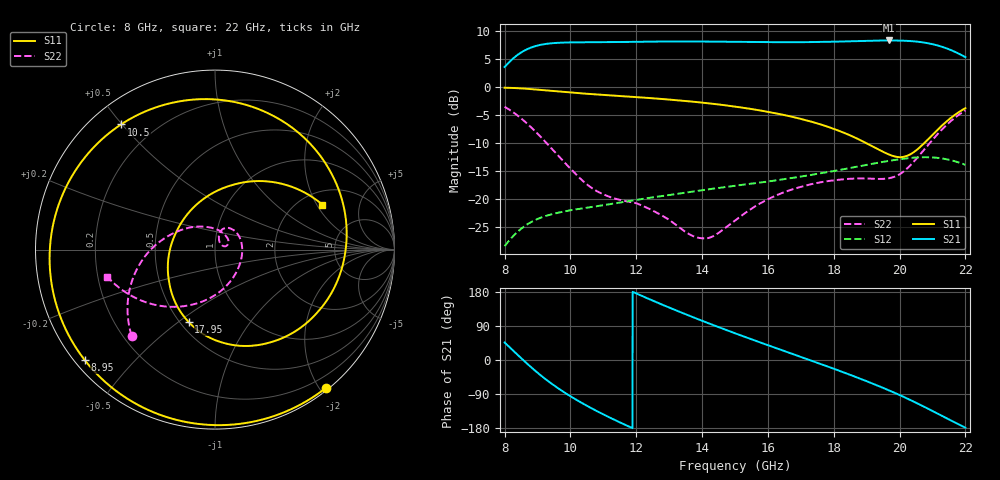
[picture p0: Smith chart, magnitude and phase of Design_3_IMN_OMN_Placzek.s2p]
! Created Tue Apr  8 08:10:16 2025
# hz S ma R 50
! 2 Port Network Data from SP1.SP block
! freq  magS11  angS11  magS21  angS21  magS12  angS12  magS22  angS22
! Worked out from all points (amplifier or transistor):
!   2801 points, 8 GHz to 22 GHz, reference 50 ohm
!   highest |S21| = 8.3 dB at 19.68 GHz (marker M1)
!   |S21| within 3 dB of that: 8.301 GHz to end of sweep
!   unconditionally stable (mu >= 1): 15.57 GHz to end of sweep
!   at 10.33 GHz: K = 0.77, MSG = 14.8 dB, |S12| = -21.7 dB
!   at 15 GHz: K = 0.98, MSG = 12.8 dB, |S12| = -17.6 dB
!   at 22 GHz: K = 1.03, MAG = 8.5 dB, |S12| = -13.9 dB
!   S11 on the Smith chart (normalised r, x): 8 GHz: 0.03, -2.08; 8.95 GHz: 0.03, -0.37; 10.5 GHz: 0.09, +0.50; 17.95 GHz: 0.55, -0.55; 22 GHz: 2.59, +2.24
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8e9  0.9876 -51.4  1.511 46.2  0.03813 -8.5  0.6674 -134.2
8.53e9  0.9729 -102.2  2.06 2.6  0.05535 -49.6  0.5178 -156.0
8.95e9  0.9517 -139.6  2.326 -29.9  0.06566 -80.2  0.3982 -173.5
9.605e9  0.9146 173.5  2.482 -73.4  0.07556 -120.6  0.2486 158.4
1.0335e10  0.879 134.5  2.51 -112.8  0.08261 -156.5  0.1494 120.7
1.05e10  0.8719 126.9  2.511 -120.8  0.084 -163.7  0.1357 111.0
1.1025e10  0.8505 104.7  2.517 -144.6  0.08865 174.9  0.1099 79.7
1.1555e10  0.831 84.1  2.525 -166.7  0.09401 155.4  0.09791 53.2
1.2095e10  0.8106 64.2  2.538 172.0  0.09982 136.8  0.08982 33.9
1.267e10  0.7883 43.8  2.549 150.4  0.1056 118.1  0.07459 20.7
1.3845e10  0.735 4.3  2.552 108.8  0.1186 82.2  0.04558 32.6
1.5e10  0.6694 -31.4  2.531 70.6  0.132 49.6  0.06473 69.8
1.622e10  0.5851 -65.2  2.513 32.2  0.1469 17.3  0.1072 73.2
1.7335e10  0.4903 -93.8  2.522 -2.2  0.1652 -11.8  0.1366 62.5
1.795e10  0.4292 -110.0  2.539 -21.4  0.1773 -28.1  0.1467 52.5
1.878e10  0.3395 -135.7  2.576 -48.5  0.1971 -51.5  0.1532 31.5
1.967e10  0.2511 180.0  2.606 -79.8  0.2197 -79.0  0.1537 -14.5
1.968e10  0.2504 179.3  2.606 -80.2  0.2199 -79.3  0.1539 -15.2
2.0365e10  0.2553 123.2  2.57 -107.1  0.2339 -103.3  0.2058 -69.5
2.1045e10  0.3864 71.6  2.398 -136.5  0.2354 -129.9  0.3502 -116.7
2.15e10  0.5146 46.0  2.175 -156.9  0.225 -148.4  0.4807 -142.1
2.2e10  0.649 22.7  1.85 -178.5  0.2025 -168.1  0.6195 -166.0
